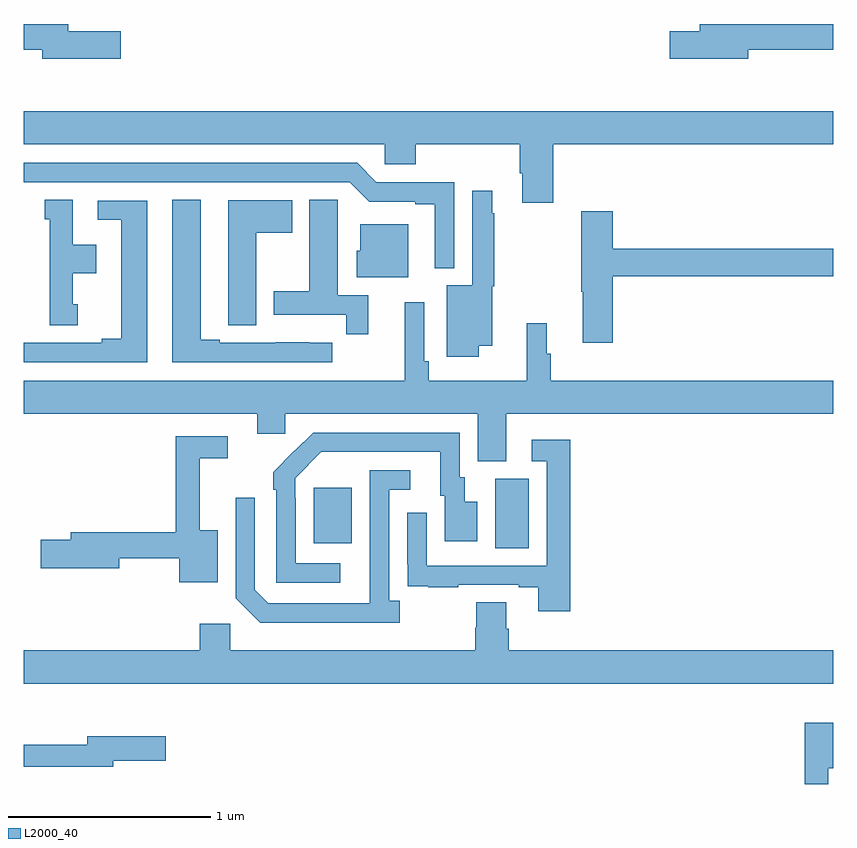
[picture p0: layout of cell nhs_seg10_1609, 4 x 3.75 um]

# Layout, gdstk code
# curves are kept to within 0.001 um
import gdstk
lib = gdstk.Library(unit=1e-6, precision=1e-09)
def R(c, l, rs):  # rectangles x0, y0, x1, y1
    for r in rs: c.add(gdstk.rectangle(r[:2], r[2:], *l))
def P(c, l, *ps):  # polygons
    for p in ps: c.add(gdstk.Polygon(p, *l))
L2000_40 = (2000, 40)

nhs_seg10_1609 = lib.new_cell('nhs_seg10_1609')
R(nhs_seg10_1609, L2000_40, [(197.33,1287.664,197.494,1288.008), (196.433,1287.689,196.621,1287.964)])
P(nhs_seg10_1609, L2000_40, [(198.58,1290.126),(199,1290.126),(199,1290.254),(198.341,1290.254),(198.341,1290.218),(198.192,1290.218),(198.192,1290.083),(198.58,1290.083)],
  [(195.481,1290.218),(195.22,1290.218),(195.22,1290.254),(195,1290.254),(195,1290.126),(195.092,1290.126),(195.092,1290.083),(195.481,1290.083)],
  [(197.615,1289.66),(199,1289.66),(199,1289.824),(195,1289.824),(195,1289.66),(196.785,1289.66),(196.785,1289.562),(196.937,1289.562),(196.937,1289.66),(197.45,1289.66),(197.45,1289.518),(197.462,1289.518),(197.462,1289.37),(197.615,1289.37)],
  [(197.127,1289.472),(196.743,1289.472),(196.647,1289.568),(195,1289.568),(195,1289.472),(196.611,1289.472),(196.707,1289.376),(196.934,1289.376),(196.934,1289.364),(197.03,1289.364),(197.03,1289.048),(197.127,1289.048)],
  [(197.248,1288.664),(197.314,1288.664),(197.314,1288.959),(197.326,1288.959),(197.326,1289.318),(197.314,1289.318),(197.314,1289.431),(197.217,1289.431),(197.217,1288.963),(197.09,1288.963),(197.09,1288.611),(197.248,1288.611)],
  [(196.525,1288.68),(196.412,1288.68),(196.412,1288.681),(196.246,1288.681),(196.246,1288.68),(195.97,1288.68),(195.97,1288.695),(195.874,1288.695),(195.874,1289.387),(195.734,1289.387),(195.734,1288.584),(196.525,1288.584)],
  [(196.703,1288.914),(196.552,1288.914),(196.552,1289.276),(196.551,1289.276),(196.551,1289.387),(196.412,1289.387),(196.412,1288.935),(196.235,1288.935),(196.235,1288.818),(196.594,1288.818),(196.594,1288.722),(196.703,1288.722)],
  [(195.268,1288.869),(195.244,1288.869),(195.244,1289.024),(195.358,1289.024),(195.358,1289.164),(195.244,1289.164),(195.244,1289.387),(195.104,1289.387),(195.104,1289.289),(195.128,1289.289),(195.128,1288.767),(195.268,1288.767)],
  [(196.15,1289.224),(196.327,1289.224),(196.327,1289.383),(196.01,1289.383),(196.01,1288.873),(196.011,1288.873),(196.011,1288.765),(196.15,1288.765)],
  [(195.61,1289.382),(195.366,1289.382),(195.366,1289.286),(195.482,1289.286),(195.482,1288.7),(195.386,1288.7),(195.386,1288.68),(195,1288.68),(195,1288.584),(195.61,1288.584)],
  [(197.909,1289.008),(199,1289.008),(199,1289.144),(197.909,1289.144),(197.909,1289.329),(197.755,1289.329),(197.755,1288.931),(197.762,1288.931),(197.762,1288.68),(197.909,1288.68)],
  [(196.9,1289.266),(196.664,1289.266),(196.664,1289.133),(196.646,1289.133),(196.646,1289.003),(196.9,1289.003)],
  [(197.383,1288.328),(199,1288.328),(199,1288.492),(197.603,1288.492),(197.603,1288.626),(197.584,1288.626),(197.584,1288.777),(197.485,1288.777),(197.485,1288.492),(197,1288.492),(197,1288.588),(196.98,1288.588),(196.98,1288.879),(196.883,1288.879),(196.883,1288.492),(195,1288.492),(195,1288.328),(196.154,1288.328),(196.154,1288.23),(196.293,1288.23),(196.293,1288.328),(197.243,1288.328),(197.243,1288.093),(197.383,1288.093)],
  [(196.564,1287.591),(196.344,1287.591),(196.344,1287.911),(196.341,1287.911),(196.341,1288.011),(196.47,1288.14),(197.057,1288.14),(197.057,1287.924),(197.081,1287.924),(197.081,1287.699),(197.242,1287.699),(197.242,1287.895),(197.179,1287.895),(197.179,1288.014),(197.154,1288.014),(197.154,1288.236),(196.43,1288.236),(196.233,1288.041),(196.233,1287.953),(196.248,1287.953),(196.248,1287.495),(196.564,1287.495)],
  [(195.958,1287.754),(195.869,1287.754),(195.869,1288.11),(196.009,1288.11),(196.009,1288.218),(195.751,1288.218),(195.751,1287.743),(195.233,1287.743),(195.233,1287.707),(195.084,1287.707),(195.084,1287.565),(195.472,1287.565),(195.472,1287.615),(195.77,1287.615),(195.77,1287.497),(195.958,1287.497)],
  [(197.699,1288.201),(197.511,1288.201),(197.511,1288.095),(197.583,1288.095),(197.583,1287.579),(196.992,1287.579),(196.992,1287.841),(196.896,1287.841),(196.896,1287.586),(196.897,1287.586),(196.897,1287.477),(196.999,1287.477),(196.999,1287.471),(197.147,1287.471),(197.147,1287.483),(197.447,1287.483),(197.447,1287.471),(197.543,1287.471),(197.543,1287.354),(197.699,1287.354)],
  [(196.858,1287.406),(196.806,1287.406),(196.806,1287.954),(196.909,1287.954),(196.909,1288.05),(196.71,1288.05),(196.709,1287.393),(196.209,1287.393),(196.143,1287.459),(196.143,1287.913),(196.047,1287.913),(196.047,1287.417),(196.168,1287.296),(196.858,1287.296)],
  [(199,1287.16),(197.396,1287.16),(197.396,1287.266),(197.383,1287.266),(197.383,1287.398),(197.236,1287.398),(197.236,1287.273),(197.231,1287.273),(197.231,1287.16),(196.02,1287.16),(196.02,1287.292),(195.869,1287.292),(195.869,1287.16),(195,1287.16),(195,1286.996),(199,1286.996)],
  [(198.975,1286.577),(199,1286.577),(199,1286.803),(198.859,1286.803),(198.859,1286.5),(198.975,1286.5)],
  [(195.442,1286.615),(195.703,1286.615),(195.703,1286.737),(195.314,1286.737),(195.314,1286.695),(195,1286.695),(195,1286.586),(195.442,1286.586)])

lib.write_gds('nhs_seg10_1609.gds')
